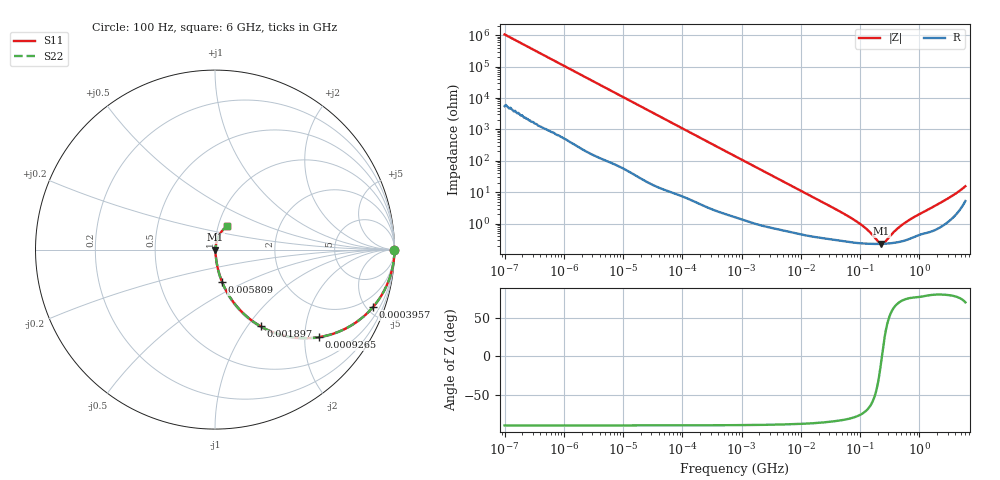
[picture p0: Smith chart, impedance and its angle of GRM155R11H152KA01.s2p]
!Murata Part Number: GRM155R11H152KA01
!These Parameters are Measured in Series Mode Connection
!Data Generated on Mar 30, 2021
!  o--ll--o
!Port1  Port2
!  o------o
!Operation Temp=25[degC], DC Bias Voltage=0[V]
!Freq. Start=100[Hz] Stop=6[GHz] 401[Steps]
# Hz S RI R 50
!Freq.(Hz) S11(Real) S11(Imag) S21(Real) S21(Imag) S12(Real) S12(Imag) S22(Real) S22(Imag)
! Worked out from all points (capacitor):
!   401 points, 100 Hz to 6 GHz, reference 50 ohm
!   read as one part in series: C = 1.5 nF near 109 Hz
!   lowest |Z| = 229 mohm at 228.4 MHz (marker M1)
!   series resonance near 233.8 MHz, so ESL is about 310 pH
!   S11 on the Smith chart (normalised r, x): 100 Hz: open; 395.7 kHz: 1.05, -5.50; 926.5 kHz: 1.03, -2.36; 1.897 MHz: 1.02, -1.16; 5.809 MHz: 1.01, -0.38; 6 GHz: 1.11, +0.29
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100  1 -9.44e-05  5e-07 9.44e-05  5e-07 9.44e-05  1 -9.44e-05
120  1 -0.000113  6e-07 0.000113  6e-07 0.000113  1 -0.000113
2008  1 -0.00188  1.19e-05 0.00188  1.19e-05 0.00188  1 -0.00188
40335  0.9984 -0.0373  0.00159 0.0373  0.00159 0.0373  0.9984 -0.0373
141303  0.9824 -0.1279  0.0176 0.1279  0.0176 0.1279  0.9824 -0.1279
395726  0.8811 -0.3192  0.1189 0.3192  0.1189 0.3192  0.8811 -0.3192
774597  0.6637 -0.4668  0.3363 0.4668  0.3363 0.4668  0.6637 -0.4668
926525  0.5812 -0.4874  0.4188 0.4874  0.4188 0.4874  0.5812 -0.4874
1896632  0.2546 -0.4277  0.7454 0.4277  0.7454 0.4277  0.2546 -0.4277
3103719  0.1171 -0.3112  0.8829 0.3112  0.8829 0.3112  0.1171 -0.3112
5809218  0.0402 -0.1822  0.9598 0.1822  0.9598 0.1822  0.0402 -0.1822
1.555665e7  0.00896 -0.071  0.991 0.071  0.991 0.071  0.00896 -0.071
8.918374e7  0.00254 -0.0111  0.9975 0.0111  0.9975 0.0111  0.00254 -0.0111
1.275994e8  0.00234 -0.00643  0.9977 0.00643  0.9977 0.00643  0.00234 -0.00643
1.996653e8  0.00226 -0.00159  0.9977 0.00159  0.9977 0.00159  0.00226 -0.00159
2.283698e8  0.00227 -0.000232  0.9977 0.000232  0.9977 0.000232  0.00227 -0.000232
2.61201e8  0.00229 0.00112  0.9977 -0.00112  0.9977 -0.00112  0.00229 0.00112
3.124326e8  0.00236 0.00295  0.9976 -0.00295  0.9976 -0.00295  0.00236 0.00295
4.274388e8  0.00258 0.00642  0.9974 -0.00642  0.9974 -0.00642  0.00258 0.00642
6.395615e8  0.00325 0.0118  0.9968 -0.0118  0.9968 -0.0118  0.00325 0.0118
2.450438e9  0.0107 0.0484  0.9893 -0.0484  0.9893 -0.0484  0.0107 0.0484
6e9  0.0679 0.1295  0.9321 -0.1295  0.9321 -0.1295  0.0679 0.1295
